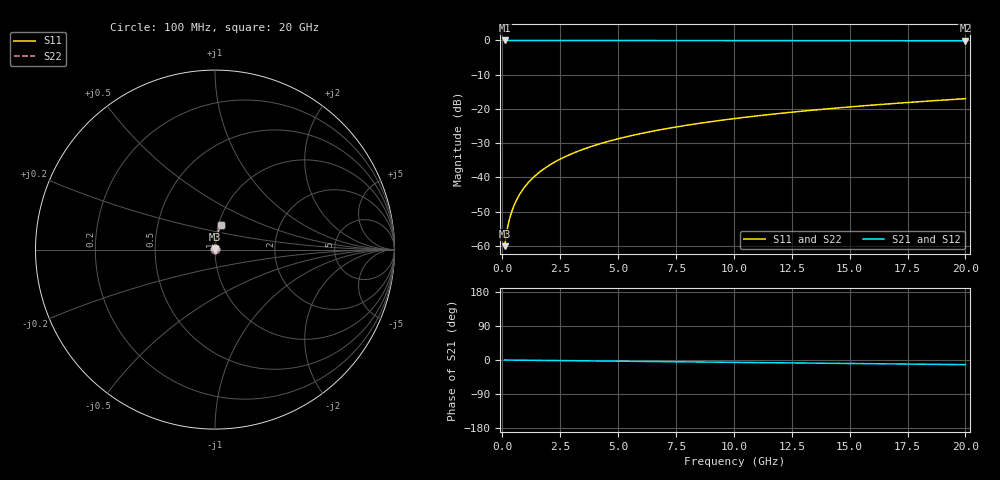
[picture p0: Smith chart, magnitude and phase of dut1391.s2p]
! Touchstone file exported from HFSS 2026.1.0
!  File:  C:/ffzhzh/LocalFiles/Ansys_Project_Files/temp_train_BSMRDL_1391_1783179714_22436.aedt
!  Generated:  11:43:05 PM Jul  4, 2026
!  Design:  BSMRDL
!  Project:  temp_train_BSMRDL_1391_1783179714_22436
! Variables:
!  h_bsmrdl = 4.77um
!  h_ox = 20um
!  h_rdl = 5um
!  h_sub = 80um
!  h_tmrdl = 5um
!  h_tsv = 80um
!  h_via = 3um
!  l_bsmrdl = 123.53um
!  l_sub = 523.53um
!  l_tmrdl = 200um
!  m_sub = 200um
!  pitch = 55.31um
!  r_tsv = 6um
!  s_tmrdl = 10um
!  w_bsmrdl = 20.05um
!  w_sub = 500um
!  w_tmrdl = 12um
!  x_tsv_center1 = 206um
!  x_tsv_center2 = 349.58um
!  x_tsv_center3 = 561.58um
!  x_tsv_center4 = 705.16um
!  x_tsv_center5 = 917.16um
!  x_tsv_center6 = 1060.74um
# GHz S MA R 50.000000
! Terminal data exported
! Port[1] = BSM_RDL1_1_T1
! Port[2] = BSM_RDL1_1_T2
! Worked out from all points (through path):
!   200 points, 100 MHz to 20 GHz, reference 50 ohm
!   highest |S21| = -0.01 dB at 100 MHz (marker M1); lowest = -0.1 dB at 20 GHz (marker M2)
!   group delay of S21, straight-line fit = 1.7 ps
!   lowest |S11| = -60.1 dB at 100 MHz (marker M3), VSWR 1.00, Z = 50.1 + j0.0783 ohm
!   |S11| at or under -10 dB: start of sweep to end of sweep
!   |S22| runs from -60.1 to -17.0 dB; largest |S21 - S12| = 3.6e-15
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0.1  0.000993 52.0  0.9994 -0.1  0.9994 -0.1  0.000993 52.0
! Gamma 0 0 0 0
! Port Impedance 50 0 50 0
0.2  0.001677 67.5  0.9994 -0.1  0.9994 -0.1  0.001677 67.5
0.3  0.002398 73.7  0.9993 -0.2  0.9993 -0.2  0.002398 73.7
0.4  0.003124 77.0  0.9993 -0.3  0.9993 -0.3  0.003124 77.0
0.5  0.003851 79.0  0.9993 -0.3  0.9993 -0.3  0.003851 79.0
0.7  0.00531 81.6  0.9992 -0.4  0.9992 -0.4  0.00531 81.6
0.8  0.006041 82.4  0.9992 -0.5  0.9992 -0.5  0.006041 82.4
1  0.007509 83.5  0.9992 -0.6  0.9992 -0.6  0.007509 83.5
1.2  0.008979 84.2  0.9992 -0.8  0.9992 -0.8  0.008979 84.2
1.4  0.01045 84.6  0.9991 -0.9  0.9991 -0.9  0.01045 84.6
1.7  0.01266 85.1  0.9991 -1.1  0.9991 -1.1  0.01266 85.1
2  0.01486 85.3  0.999 -1.3  0.999 -1.3  0.01486 85.3
2.7  0.02 85.5  0.9988 -1.7  0.9988 -1.7  0.02 85.5
3.5  0.02583 85.3  0.9985 -2.2  0.9985 -2.2  0.02583 85.3
4.2  0.03091 85.0  0.9983 -2.6  0.9983 -2.6  0.03091 85.0
5  0.03668 84.7  0.9979 -3.1  0.9979 -3.1  0.03668 84.7
6.8  0.04955 83.8  0.9971 -4.2  0.9971 -4.2  0.04955 83.8
8.3  0.06019 83.0  0.9963 -5.2  0.9963 -5.2  0.06019 83.0
10.1  0.07288 82.1  0.9952 -6.2  0.9952 -6.2  0.07288 82.1
13.4  0.09594 80.3  0.9929 -8.3  0.9929 -8.3  0.09594 80.3
16.7  0.1187 78.4  0.9902 -10.2  0.9902 -10.2  0.1187 78.4
20  0.1412 76.5  0.9869 -12.2  0.9869 -12.2  0.1412 76.5
